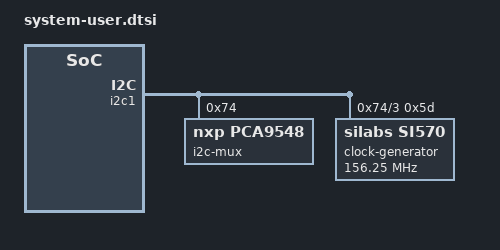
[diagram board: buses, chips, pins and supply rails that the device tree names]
/include/ "system-conf.dtsi"
/ {
};

&i2c1{
        status = "okay";

        i2c-mux@74 {
                compatible = "nxp,pca9548"; /* u20 */
		#address-cells = <1>;
		#size-cells = <0>;
		reg = <0x74>;               
                
                i2c@3 {
                                #address-cells = <1>;
                                #size-cells = <0>;
                                reg = <3>;
                                
                                clock-generator@5d { /* USER MGT SI570 - u48 */
                                        #clock-cells = <0>;
                                        compatible = "silabs,si570";
                                        reg = <0x5d>;
                                        temperature-stability = <50>;
                                        factory-fout = <156250000>;
                                        clock-frequency = <156250000>;
                                        clock-output-names = "si570_mgt";
                                };
                        };

                };
};

&cmac_axi_mcdma_0 { 
        compatible = "xlnx,eth-dma";
        xlnx,addrwidth = <0x20>;
        xlnx,channel-ids = "1";
        xlnx,include-dre;
        xlnx,include-sg;
};

&cmac_cmac_usplus_0 {
        compatible = "xlnx,cmac-usplus-2.4";
        axistream-connected = <&cmac_axi_mcdma_0>;
	axigpio-handle = <&cmac_axi_gpio_0>;
        xlnx,channel-ids = "1";
        local-mac-address = [00 0a 35 00 00 01];
        xlnx,rx-pause-da-mcast = <0x0> ;
        xlnx,tx-da-gpp = <0x0>;
        xlnx,tx-da-ppp = <0x0>;
        xlnx,include-dre;
        interrupts = < 0 89 4 0 90 4 >;
        interrupt-names = "mm2s_ch1_introut" , "s2mm_ch1_introut";
        interrupt-parent = <&gic>;
        xlnx,num-queues = /bits/ 16 <0x1>;
        xlnx,addrwidth = <0x20>;
        clocks = <&zynqmp_clk 71>, <&misc_clk_0>, <&zynqmp_clk 71>;
        clock-names = "s_axi_aclk", "rx_core_clk", "dclk";
        phy-handle = <&fixed_link_100g>;
        phy-mode = "100gbase-cr4";
        fixed_link_100g: fixed-link {
                compatible = "fixed-link";
                speed = <100000>;
                full-duplex;
        };
};


&cmac_axi_gpio_0 {
	compatible = "xlnx,axi-gpio-2.0";
};

